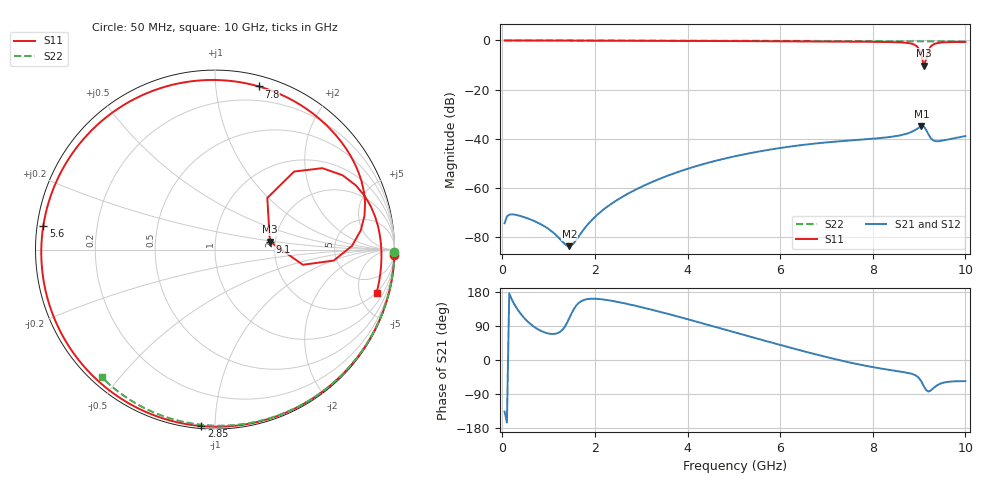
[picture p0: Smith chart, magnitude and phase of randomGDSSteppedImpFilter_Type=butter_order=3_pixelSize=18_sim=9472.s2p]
! freq	dB(S11)	phase(S11)	dB(S12)	phase(S12)
!  dB(S21)	phase(S21)	dB(S22)	phase(S22)
!S-par simulation data
#  GHz  S  DB  R 50
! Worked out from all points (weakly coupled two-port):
!   200 points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, 50 MHz to 10 GHz, reference 50 ohm
!   highest |S21| = -34.90 dB at 9.05 GHz (marker M1); lowest = -83.7 dB at 1.45 GHz (marker M2)
!   lowest |S11| = -10.2 dB at 9.1 GHz (marker M3), VSWR 1.90, Z = 93.5 + j9.25 ohm
!   |S11| at or under -10 dB: 9.097625 GHz to 9.104009 GHz (6.385 MHz wide, 0.0702 % of centre)
!   |S22| runs from -0.4 to 0.0 dB; largest |S21 - S12| = 0
!   S11 on the Smith chart (normalised r, x): 50 MHz: 0, -67; 2.85 GHz: 0.01, -0.93; 5.6 GHz: 0.02, +0.07; 7.8 GHz: 0.08, +1.30; 9.1 GHz: 1.87, +0.19; 10 GHz: 1.95, -7.12
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0.05  -0.00 -1.7  -74.42 -136.1  -74.42 -136.1  -0.00 -0.8
0.15  -0.00 -5.1  -70.93 175.8  -70.93 175.8  -0.00 -2.3
0.3  -0.01 -10.2  -71.00 138.9  -71.00 138.9  -0.00 -4.6
1.2  -0.05 -40.5  -79.96 71.2  -79.96 71.2  -0.02 -18.1
1.45  -0.06 -48.8  -83.73 111.1  -83.73 111.1  -0.03 -21.8
1.75  -0.07 -58.7  -77.12 157.7  -77.12 157.7  -0.03 -26.2
2.2  -0.09 -73.4  -68.61 159.4  -68.61 159.4  -0.04 -32.8
2.85  -0.12 -94.4  -61.00 143.8  -61.00 143.8  -0.05 -42.2
3.4  -0.15 -112.2  -56.30 127.4  -56.30 127.4  -0.07 -50.0
5.05  -0.26 -167.6  -47.03 71.8  -47.03 71.8  -0.11 -72.3
5.6  -0.30 172.2  -45.00 53.2  -45.00 53.2  -0.13 -79.4
6.7  -0.41 127.1  -42.07 17.0  -42.07 17.0  -0.18 -93.2
7.8  -0.53 74.9  -40.29 -14.1  -40.29 -14.1  -0.25 -106.4
8.35  -0.64 46.1  -39.33 -26.0  -39.33 -26.0  -0.29 -112.8
8.85  -1.38 12.7  -37.10 -36.9  -37.10 -36.9  -0.33 -118.6
8.95  -2.35 1.5  -36.02 -42.6  -36.02 -42.6  -0.34 -119.7
9.05  -6.08 -9.8  -34.90 -56.6  -34.90 -56.6  -0.35 -120.9
9.1  -10.20 8.3  -35.06 -68.5  -35.06 -68.5  -0.35 -121.4
9.2  -4.16 44.6  -38.14 -83.2  -38.14 -83.2  -0.36 -122.6
9.25  -2.49 37.2  -39.69 -80.6  -39.69 -80.6  -0.37 -123.1
9.5  -0.81 11.8  -40.78 -60.7  -40.78 -60.7  -0.39 -126.0
10  -0.61 -14.9  -38.90 -55.8  -38.90 -55.8  -0.44 -131.6
